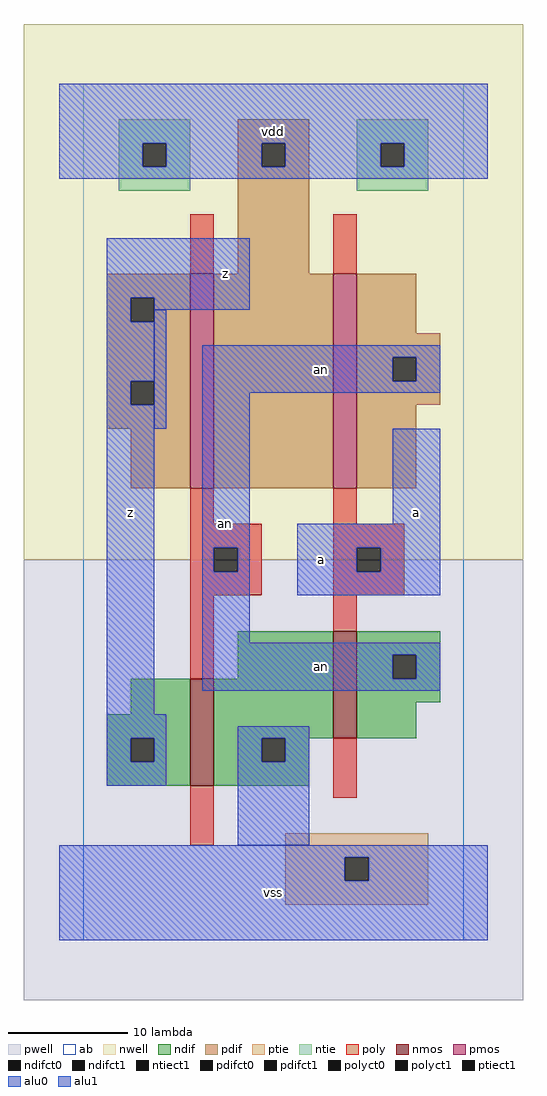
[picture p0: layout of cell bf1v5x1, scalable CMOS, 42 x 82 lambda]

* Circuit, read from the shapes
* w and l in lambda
.subckt bf1v5x1 a an vdd vss z
M1 vss an z vss nfet w=9 l=2
M2 an a vss vss nfet w=9 l=2
M3 vdd an z vdd pfet w=18 l=2
M4 an a vdd vdd pfet w=18 l=2
.ends

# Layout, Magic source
magic
tech scmos
<< ab >>
rect 0 0 32 72
<< nwell >>
rect -5 32 37 77
<< pwell >>
rect -5 -5 37 32
<< poly >>
rect 9 56 11 61
rect 21 56 23 61
rect 9 35 11 38
rect 21 35 23 38
rect 9 33 15 35
rect 9 31 11 33
rect 13 31 15 33
rect 9 29 15 31
rect 21 33 27 35
rect 21 31 23 33
rect 25 31 27 33
rect 21 29 27 31
rect 9 22 11 29
rect 21 26 23 29
rect 9 8 11 13
rect 21 12 23 17
<< ndif >>
rect 13 22 21 26
rect 4 19 9 22
rect 2 17 9 19
rect 2 15 4 17
rect 6 15 9 17
rect 2 13 9 15
rect 11 17 21 22
rect 23 24 30 26
rect 23 22 26 24
rect 28 22 30 24
rect 23 20 30 22
rect 23 17 28 20
rect 11 15 15 17
rect 17 15 19 17
rect 11 13 19 15
<< pdif >>
rect 13 67 19 69
rect 13 65 15 67
rect 17 65 19 67
rect 13 56 19 65
rect 2 54 9 56
rect 2 52 4 54
rect 6 52 9 54
rect 2 47 9 52
rect 2 45 4 47
rect 6 45 9 47
rect 2 43 9 45
rect 4 38 9 43
rect 11 38 21 56
rect 23 51 28 56
rect 23 49 30 51
rect 23 47 26 49
rect 28 47 30 49
rect 23 45 30 47
rect 23 38 28 45
<< alu1 >>
rect -2 67 34 72
rect -2 65 5 67
rect 7 65 15 67
rect 17 65 25 67
rect 27 65 34 67
rect -2 64 34 65
rect 2 54 14 59
rect 2 52 4 54
rect 6 53 14 54
rect 2 47 6 52
rect 2 45 4 47
rect 2 19 6 45
rect 26 35 30 43
rect 18 33 30 35
rect 18 31 23 33
rect 25 31 30 33
rect 18 29 30 31
rect 2 17 7 19
rect 2 15 4 17
rect 6 15 7 17
rect 2 13 7 15
rect -2 7 34 8
rect -2 5 22 7
rect 24 5 34 7
rect -2 0 34 5
<< ptie >>
rect 17 7 29 9
rect 17 5 22 7
rect 24 5 29 7
rect 17 3 29 5
<< ntie >>
rect 3 67 9 69
rect 3 65 5 67
rect 7 65 9 67
rect 3 63 9 65
rect 23 67 29 69
rect 23 65 25 67
rect 27 65 29 67
rect 23 63 29 65
<< nmos >>
rect 9 13 11 22
rect 21 17 23 26
<< pmos >>
rect 9 38 11 56
rect 21 38 23 56
<< polyct0 >>
rect 11 31 13 33
<< polyct1 >>
rect 23 31 25 33
<< ndifct0 >>
rect 26 22 28 24
rect 15 15 17 17
<< ndifct1 >>
rect 4 15 6 17
<< ntiect1 >>
rect 5 65 7 67
rect 25 65 27 67
<< ptiect1 >>
rect 22 5 24 7
<< pdifct0 >>
rect 26 47 28 49
<< pdifct1 >>
rect 15 65 17 67
rect 4 52 6 54
rect 4 45 6 47
<< alu0 >>
rect 6 43 7 53
rect 10 49 30 50
rect 10 47 26 49
rect 28 47 30 49
rect 10 46 30 47
rect 10 33 14 46
rect 10 31 11 33
rect 13 31 14 33
rect 10 25 14 31
rect 10 24 30 25
rect 10 22 26 24
rect 28 22 30 24
rect 10 21 30 22
rect 13 17 19 18
rect 13 15 15 17
rect 17 15 19 17
rect 13 8 19 15
<< labels >>
rlabel alu0 12 35 12 35 6 an
rlabel alu0 20 23 20 23 6 an
rlabel alu0 20 48 20 48 6 an
rlabel alu1 4 36 4 36 6 z
rlabel alu1 16 4 16 4 6 vss
rlabel alu1 12 56 12 56 6 z
rlabel alu1 16 68 16 68 6 vdd
rlabel alu1 20 32 20 32 6 a
rlabel alu1 28 36 28 36 6 a
<< end >>
